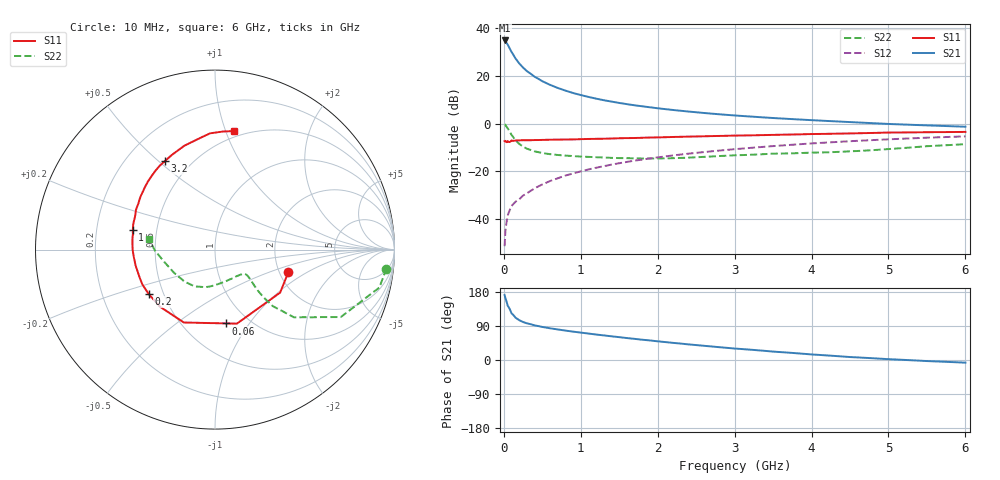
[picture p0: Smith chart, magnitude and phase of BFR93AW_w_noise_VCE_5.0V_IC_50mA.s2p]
! Infineon Technologies  Discrete & RF Semiconductors
! BFR93AW
! VCE =  5.0 V,  IC =  50 mA
! Common Emitter S-Parameters:  Jan 2017
# GHz  S  MA  R  50
!  f  S11  S21  S12  S22
! GHz  MAG  ANG  MAG  ANG  MAG  ANG  MAG  ANG
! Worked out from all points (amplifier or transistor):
!   77 points, 10 MHz to 6 GHz, reference 50 ohm
!   highest |S21| = 34.8 dB at 10 MHz (marker M1)
!   |S21| within 3 dB of that: start of sweep to 70.72 MHz
!   unconditionally stable (mu >= 1): 479 MHz to 2.042 GHz
!   at 130 MHz: K = 0.61, MSG = 31.0 dB, |S12| = -33.5 dB
!   at 2.2 GHz: K = 0.99, MSG = 9.5 dB, |S12| = -13.3 dB
!   at 6 GHz: K = 0.89, MSG = 2.0 dB, |S12| = -5.4 dB
!   lowest NFmin = 2.30 dB at 450 MHz
!   S11 on the Smith chart (normalised r, x): 10 MHz: 2.24, -0.68; 60 MHz: 0.79, -0.79; 200 MHz: 0.41, -0.25; 1 GHz: 0.36, +0.10; 3.2 GHz: 0.36, +0.52; 6 GHz: 0.45, +1.07
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0.01  0.4276 -16.9  55.13 171.4  0.0027 80.2  0.9608 -6.3
0.02  0.435 -33.4  54.16 163.5  0.0055 85.3  0.9399 -13.0
0.05  0.4302 -73.5  45.16 143.3  0.0118 66.5  0.7951 -28.2
0.06  0.4161 -81.3  42.13 140.3  0.0131 65.1  0.7498 -30.1
0.1  0.4417 -113.1  31.69 123.0  0.0186 61.5  0.5799 -40.6
0.15  0.442 -134.0  23.33 112.0  0.0229 60.8  0.4491 -44.4
0.2  0.4448 -146.4  18.22 105.1  0.0259 63.4  0.3752 -44.5
0.25  0.4489 -154.6  14.9 100.2  0.031 64.4  0.329 -43.7
0.3  0.4477 -160.4  12.54 96.8  0.0345 66.5  0.2974 -42.5
0.4  0.4513 -168.8  9.585 91.3  0.0438 69.6  0.2617 -40.4
0.5  0.4544 -174.9  7.723 87.2  0.0531 70.3  0.2414 -39.2
0.6  0.4587 -179.7  6.486 83.7  0.0625 71.3  0.2285 -38.6
0.7  0.4609 176.4  5.581 80.7  0.0713 72.0  0.2197 -38.8
1  0.4714 166.3  3.959 72.3  0.0996 71.6  0.2036 -42.1
1.1  0.476 163.3  3.616 69.8  0.1094 71.4  0.2005 -43.8
1.5  0.4925 153.5  2.704 60.3  0.1476 69.2  0.1892 -53.5
2.1  0.5182 140.1  2.007 47.3  0.2053 64.4  0.1868 -74.1
3.1  0.5629 121.4  1.442 28.8  0.2996 55.1  0.2188 -107.8
3.2  0.5663 119.6  1.407 27.3  0.3088 54.1  0.2218 -110.7
4.1  0.6062 105.0  1.157 13.4  0.3921 44.7  0.2477 -137.2
5.1  0.6498 91.2  0.968 1.3  0.4751 33.5  0.2998 -169.7
6  0.6691 80.8  0.859 -7.0  0.5397 23.5  0.3705 171.2
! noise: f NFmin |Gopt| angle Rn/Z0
0.45  2.3  0.26  -178  0.17
0.9  2.59  0.31  -167  0.18
1.9  3.72  0.53  -132  0.42
2.4  4.45  0.58  -122  0.79
